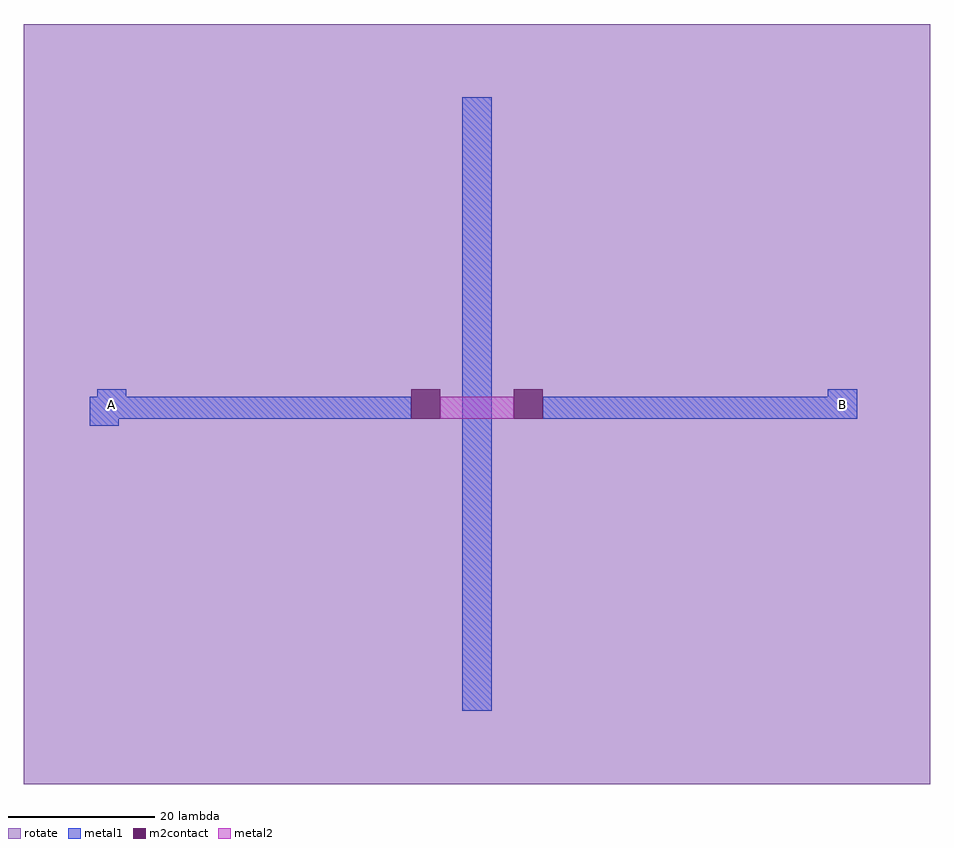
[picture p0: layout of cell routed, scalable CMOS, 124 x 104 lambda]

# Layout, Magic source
magic
tech scmos
<< rotate >>
rect -10 -50 114 54
<< metal1 >>
rect 0 3 4 4
rect -1 0 43 3
rect -1 -1 3 0
rect 50 -40 54 44
rect 100 3 104 4
rect 61 0 104 3
<< metal2 >>
rect 47 0 57 3
<< m2contact >>
rect 43 0 47 4
rect 57 0 61 4
<< labels >>
rlabel metal1 0 0 4 4 0 A
rlabel metal1 100 0 104 4 0 B
<< end >>
